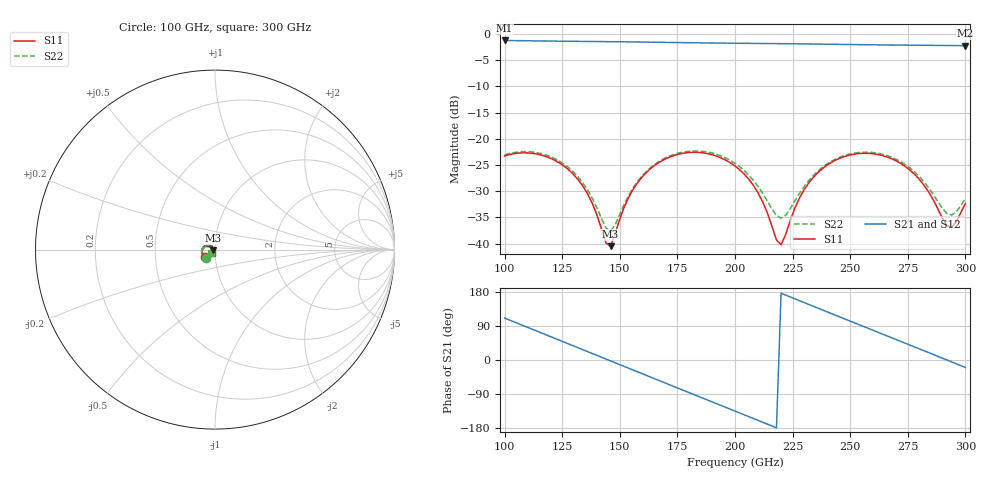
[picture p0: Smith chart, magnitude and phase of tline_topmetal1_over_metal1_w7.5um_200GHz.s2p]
#  GHZ S DB R 50
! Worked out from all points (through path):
!   101 points, 100 GHz to 300 GHz, reference 50 ohm
!   highest |S21| = -1.24 dB at 100 GHz (marker M1); lowest = -2.2 dB at 300 GHz (marker M2)
!   group delay of S21, straight-line fit = 6.81 ps
!   lowest |S11| = -40.5 dB at 146 GHz (marker M3), VSWR 1.02, Z = 49.2 - j0.394 ohm
!   |S11| at or under -10 dB: start of sweep to end of sweep
!   |S22| runs from -37.6 to -22.3 dB; largest |S21 - S12| = 9.7e-14
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100  -23.29 -141.4  -1.24 110.6  -1.24 110.6  -23.08 -138.4
116  -23.12 -178.3  -1.34 71.3  -1.34 71.3  -22.85 -174.0
126  -25.29 160.1  -1.39 46.8  -1.39 46.8  -24.92 165.9
134  -29.06 146.4  -1.42 27.2  -1.42 27.2  -28.45 154.2
138  -32.27 143.9  -1.44 17.3  -1.44 17.3  -31.31 153.4
144  -39.90 172.8  -1.46 2.6  -1.46 2.6  -37.04 179.0
146  -40.51 -154.9  -1.47 -2.4  -1.47 -2.4  -37.64 -158.8
156  -29.50 -117.1  -1.52 -27.0  -1.52 -27.0  -29.22 -119.2
168  -24.27 -137.9  -1.59 -56.5  -1.59 -56.5  -24.08 -136.1
184  -22.61 -172.4  -1.69 -95.7  -1.69 -95.7  -22.34 -167.8
200  -25.20 154.2  -1.77 -134.8  -1.77 -134.8  -24.69 162.5
210  -30.32 139.6  -1.81 -159.3  -1.81 -159.3  -29.11 152.9
218  -39.33 165.8  -1.84 -179.0  -1.84 -179.0  -34.64 175.9
220  -40.25 -164.2  -1.85 176.1  -1.85 176.1  -35.15 -168.9
228  -31.30 -121.0  -1.89 156.5  -1.89 156.5  -30.41 -132.3
234  -27.37 -127.0  -1.92 141.8  -1.92 141.8  -27.00 -132.9
252  -22.92 -161.5  -2.03 97.7  -2.03 97.7  -22.73 -161.3
268  -23.82 166.2  -2.11 58.7  -2.11 58.7  -23.54 169.3
280  -27.75 147.3  -2.15 29.4  -2.15 29.4  -27.20 153.3
292  -36.62 173.2  -2.20 0.0  -2.20 0.0  -34.27 177.3
294  -36.95 -167.2  -2.21 -4.9  -2.21 -4.9  -34.55 -168.6
300  -32.35 -133.3  -2.24 -19.6  -2.24 -19.6  -31.43 -139.1
